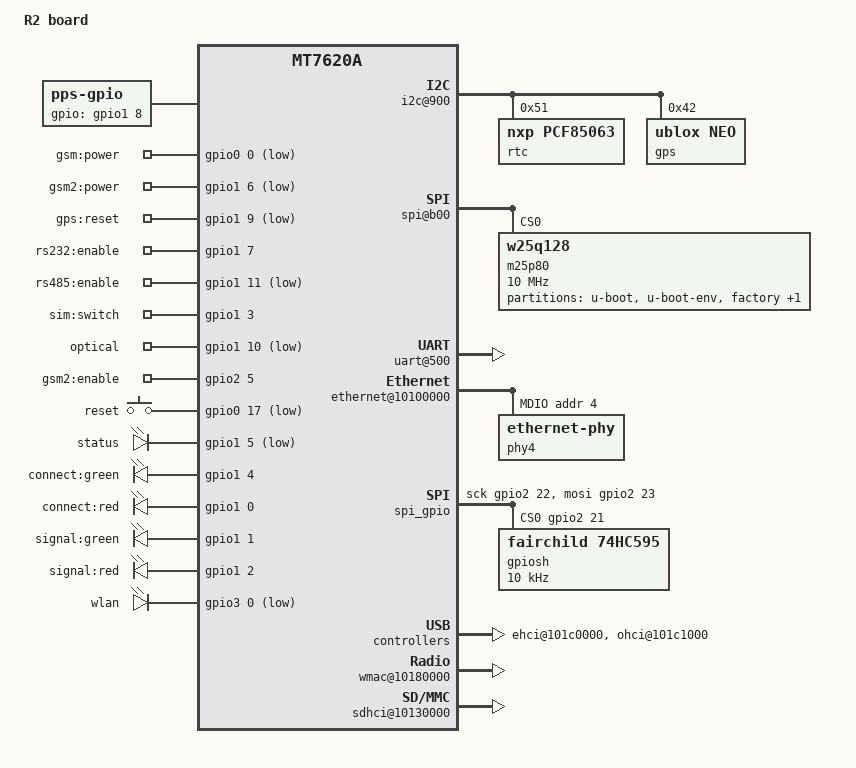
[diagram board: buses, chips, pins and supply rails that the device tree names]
/dts-v1/;

/include/ "mt7620a.dtsi"

/ {
	compatible = "ralink,irz_mt02", "ralink,mt7620a-soc";
	model = "R2 board";
	chosen {
	    bootargs = "";
	};
	palmbus@10000000 {
		i2c@900 {
			status = "okay";
			rtc@51 {
				compatible = "nxp,pcf85063";
				reg = <0x51>;
			};
			gps@42 {
				compatible = "ublox,neo";
				reg = <0x42>;
			};
		};

		spi@b00 {
			status = "okay";

			m25p80@0 {
				#address-cells = <1>;
				#size-cells = <1>;
				compatible = "w25q128";
				reg = <0 0>;
				linux,modalias = "m25p80", "w25q128";
				spi-max-frequency = <10000000>;

				partition@0 {
					label = "u-boot";
					reg = <0x0 0x30000>;
				};

				partition@30000 {
					label = "u-boot-env";
					reg = <0x30000 0x10000>;
				};

				factory: partition@40000 {
					label = "factory";
					reg = <0x40000 0x10000>;
				};
				partition@50000 {
					label = "firmware";
					reg = <0x50000 0xbb0000>;
				};
				partition {
					label = "opt";
					reg = <0xc00000 0x400000>;
				};
			};
		};



		uart@500 {
		    status = "okay";
		    pinctrl-names = "default";
			pinctrl-0 = <&uartf_pins>;
		};
	    	gpio@600 {
			status = "okay";
		};
		gpio@638 {
			status = "okay";
		};
		gpio@660 {
			status = "okay";
		};
		gpio@688 {
			status = "okay";
		};
	};

	pinctrl {
		state_default: pinctrl0 {
			gpio {
				ralink,group = "rgmii1", "rgmii2", "pcie", "wled", "wdt";
				ralink,function = "gpio";
			};
			sd {
				ralink,group = "nd_sd";
				ralink,function = "sd";
			};
		};
		uartf_pins: uartf {
			uartf {
				ralink,group = "uartf";
				ralink,function = "uartf";
			};
		};
	};

	ethernet@10100000 {
		status = "okay";

		pinctrl-names = "default";
		pinctrl-0 = <&mdio_pins>;

		ralink,port-map = "llll";
		mtd-mac-address = <&factory 0x28>;

		port@4 {
			status = "okay";
			phy-mode = "ephy";
			phy-handle = <&phy4>;
		};

		mdio-bus {
			status = "okay";

			phy4: ethernet-phy@4 {
				reg = <4>;
				phy-mode = "ephy";
			};
		};
	};



	gsw@10110000 {
		ralink,port4 = "ephy";
	};

	pcie@10140000 {
		status = "disabled";
	};

	spi_gpio {
	    compatible = "spi-gpio";
	    #address-cells = <0x1>;
	    ranges;
	    gpio-sck  = <&gpio2 22 0>;
	    gpio-mosi = <&gpio2 23 0>;
	    cs-gpios  = <&gpio2 21 0>;
	    num-chipselects = <1>;


	    gpiosh: gpio_shift@0 {
		compatible = "fairchild,74hc595";
		reg = <0>;
		gpio-controller;
		#gpio-cells = <2>;
		registers-number = <2>;
		spi-max-frequency = <10000>;
	    };
	};

	gpio_tr: gpio-tr@0 {
	    compatible = "gpio-tr";
	    #address-cells = <1>;
	    #gpio-cells = <2>;
	    gpio-controller;
	    io1 {
		low_pin		= <&gpiosh 1  0x0>;
		high_pin	= <&gpiosh 9  0x0>;
		input_pin	= <&gpio2  31 0x1>;
	    };
	    io2 {
		low_pin		= <&gpiosh 2  0x0>;
		high_pin	= <&gpiosh 10 0x0>;
		input_pin	= <&gpio2  30 0x1>;
	    };
	    io3 {
		low_pin		= <&gpiosh 3  0x0>;
		high_pin	= <&gpiosh 11 0x0>;
		input_pin	= <&gpio2  26 0x1>;
	    };
	    io4 {
		low_pin		= <&gpiosh 4  0x0>;
		high_pin	= <&gpiosh 12 0x0>;
		input_pin	= <&gpio2  27 0x1>;
	    };
	    io5 {
		low_pin		= <&gpiosh 5  0x0>;
		high_pin	= <&gpiosh 13 0x0>;
		input_pin	= <&gpio2  28 0x1>;
	    };
	    io6 {
		low_pin		= <&gpiosh 6  0x0>;
		high_pin	= <&gpiosh 14 0x0>;
		input_pin	= <&gpio2  29 0x1>;
	    };
	    io7 {
		low_pin		= <&gpiosh 7  0x0>;
		high_pin	= <&gpiosh 15 0x0>;
		input_pin	= <&gpio2  25 0x1>;
	    };
	};

	pps {
		compatible = "pps-gpio";
		gpios = <&gpio1 8 0>;
		assert-falling-edge;
	};
	gpio {
		compatible = "gpio-export";
		GSM_POWER {
		    gpios = <&gpio0 0 1>;
		    gpio-export,name  = "gsm:power";
		    gpio-export,output = <1>;
		};
		GSM2_POWER {
		    gpios = <&gpio1 6 1>;
		    gpio-export,name  = "gsm2:power";
		    gpio-export,output = <1>;
		};
		GPS_RESET {
		    gpios = <&gpio1 9 1>;
		    gpio-export,name  = "gps:reset";
		    gpio-export,output = <1>;
		};
		RS232_ENABLE {
		    gpios = <&gpio1 7 0>;
		    gpio-export,name  = "rs232:enable";
		    gpio-export,output = <1>;
		};
		RS485_ENABLE {
		    gpios = <&gpio1 11 1>;
		    gpio-export,name  = "rs485:enable";
		    gpio-export,output = <1>;
		};
		sim_switch {
		    gpios = <&gpio1 3 0>;
		    gpio-export,name  = "sim:switch";
		    gpio-export,output = <1>;
		};
		OPTO_IN {
		    gpios = <&gpio1 10 1>;
		    gpio-export,name  = "optical";
		    gpio-export,input;
		};
		GSM2_ENABLE {
		    gpios = <&gpio2 5 0 >;
		    gpio-export,name  = "gsm2:enable";
		    gpio-export,output = <0>;
		};
	};
	gpio-keys-polled {
		compatible = "gpio-keys-polled";
		#address-cells = <1>;
		#size-cells = <0>;
		poll-interval = <20>;
		reset {
			label = "reset";
			gpios = <&gpio0 17 1>;
			linux,code = <0x198>;
		};
	};
	gpio-leds {
		compatible = "gpio-leds";
		STATUS {
			label = "status";
			gpios = <&gpio1 5 1>;
		};
		CONNECT_GREEN {
			label = "connect:green";
			gpios = <&gpio1 4 0>;
		};
		CONNECT_RED {
			label = "connect:red";
			gpios = <&gpio1 0 0>;
		};
		SIGNAL_GREEN {
			label = "signal:green";
			gpios = <&gpio1 1 0>;
		};
		SIGNAL_RED {
			label = "signal:red";
			gpios = <&gpio1 2 0>;
		};
		WLAN {
			label = "wlan";
			gpios = <&gpio3 0 1>;
		};
	};
	ehci@101c0000 {
		status = "okay";
	};

	ohci@101c1000 {
		status = "okay";
	};
	wmac@10180000 {
		status = "okay";
		ralink,mtd-eeprom = <&factory 0>;
	};
	sdhci@10130000 {
		status = "okay";
	};
};

